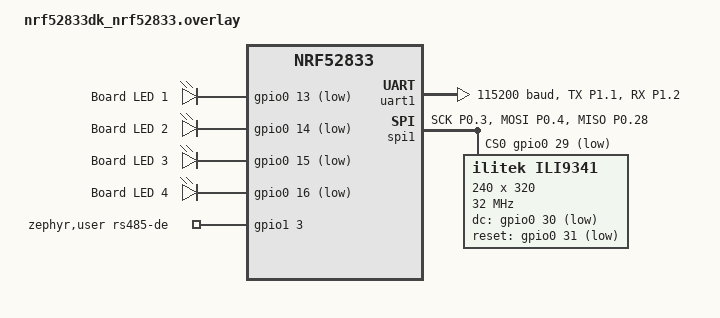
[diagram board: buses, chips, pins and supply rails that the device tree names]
/* boards/nrf52833dk_nrf52833.overlay */
#include <zephyr/dt-bindings/pinctrl/nrf-pinctrl.h>
/ {
    leds {
        compatible = "gpio-leds";
        board_led_1: board_led_p0_13 {
            gpios = <&gpio0 13 GPIO_ACTIVE_LOW>;
            label = "Board LED 1";
        };

        board_led_2: board_led_p0_14 {
            gpios = <&gpio0 14 GPIO_ACTIVE_LOW>;
            label = "Board LED 2";
        };

        board_led_3: board_led_p0_15 {
            gpios = <&gpio0 15 GPIO_ACTIVE_LOW>;
            label = "Board LED 3";
        };

        board_led_4: board_led_p0_16 {
            gpios = <&gpio0 16 GPIO_ACTIVE_LOW>;
            label = "Board LED 4";
        };
    };

    aliases {
        led1 = &board_led_1;
        led2 = &board_led_2;
        led3 = &board_led_3;
        led4 = &board_led_4;
    };

    /*
     * Ad-hoc GPIO wiring that is not owned by a specific bus driver.
     * rs485-de-gpios drives the RS485 transceiver direction control pin
     * (DE and RE tied together for half-duplex operation on UART1).
     */
    zephyr,user {
        rs485-de-gpios = <&gpio1 3 GPIO_ACTIVE_HIGH>;
    };

    /*
     * Panel-agnostic display selection. Upper layers (hardware/package_display,
     * LVGL port, UI) must reference this chosen node instead of the ili9341
     * label directly, so swapping the panel model only touches this overlay.
     */
    chosen {
        zephyr,display = &ili9341;
    };
};

&pinctrl {
    uart1_default: uart1_default {
        group1 {
            psels = <NRF_PSEL(UART_TX, 1, 1)>,
                    <NRF_PSEL(UART_RX, 1, 2)>;
        };
    };

    uart1_sleep: uart1_sleep {
        group1 {
            psels = <NRF_PSEL(UART_TX, 1, 1)>,
                    <NRF_PSEL(UART_RX, 1, 2)>;
            low-power-enable;
        };
    };

    spi1_default: spi1_default {
        group1 {
            psels = <NRF_PSEL(SPIM_SCK, 0, 3)>,
                    <NRF_PSEL(SPIM_MOSI, 0, 4)>,
                    <NRF_PSEL(SPIM_MISO, 0, 28)>;
        };
    };

    spi1_sleep: spi1_sleep {
        group1 {
            psels = <NRF_PSEL(SPIM_SCK, 0, 3)>,
                    <NRF_PSEL(SPIM_MOSI, 0, 4)>,
                    <NRF_PSEL(SPIM_MISO, 0, 28)>;
            low-power-enable;
        };
    };
};

&uart1 {
    status = "okay";
    current-speed = <115200>;
    pinctrl-0 = <&uart1_default>;
    pinctrl-1 = <&uart1_sleep>;
    pinctrl-names = "default", "sleep";
};

/*
 * SPI1 bus driving an ILI9341 240x320 TFT display.
 * CS is P0.29, D/CX (data/command) is P0.30, RESET is P0.31.
 */
&spi1 {
    compatible = "nordic,nrf-spim";
    status = "okay";
    pinctrl-0 = <&spi1_default>;
    pinctrl-1 = <&spi1_sleep>;
    pinctrl-names = "default", "sleep";
    cs-gpios = <&gpio0 29 GPIO_ACTIVE_LOW>;

    ili9341: ili9341@0 {
        compatible = "ilitek,ili9341";
        label = "ILI9341";
        reg = <0>;
        spi-max-frequency = <32000000>;
        dc-gpios = <&gpio0 30 GPIO_ACTIVE_LOW>;
        reset-gpios = <&gpio0 31 GPIO_ACTIVE_LOW>;
        width = <240>;
        height = <320>;
        rotation = <0>;
        pixel-format = <0>;
    };
};
